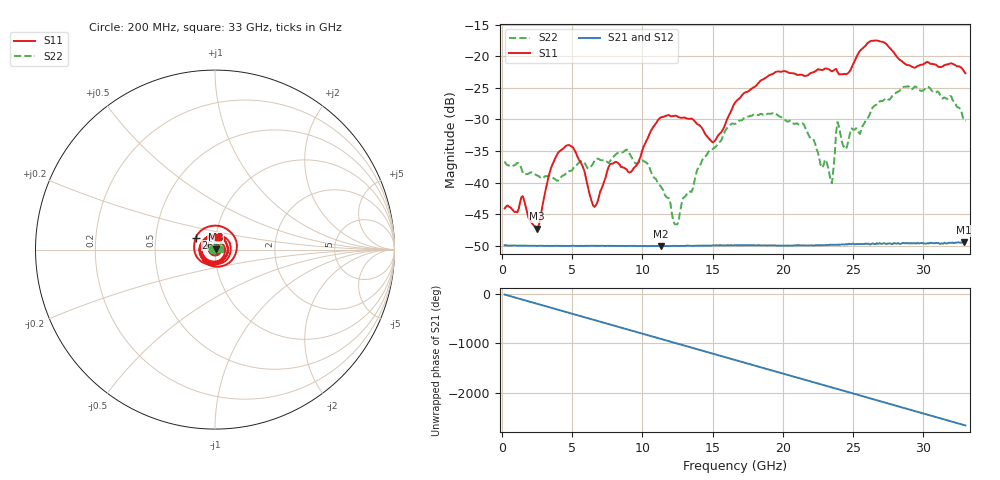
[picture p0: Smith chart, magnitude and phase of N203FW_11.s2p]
# GHZ S RI R 50
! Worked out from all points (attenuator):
!   329 points, 200 MHz to 33 GHz, reference 50 ohm
!   highest |S21| = -49.46 dB at 32.9 GHz (marker M1); lowest = -50.1 dB at 11.3 GHz (marker M2)
!   lowest |S11| = -47.3 dB at 2.5 GHz (marker M3), VSWR 1.01, Z = 50.4 + j0.228 ohm
!   |S11| at or under -10 dB: start of sweep to end of sweep
!   |S22| runs from -46.6 to -24.7 dB; largest |S21 - S12| = 8.8e-05
!   S11 on the Smith chart (normalised r, x): 200 MHz: 1.01, +0.00; 26 GHz: 0.80, +0.11; 33 GHz: 1.02, +0.15
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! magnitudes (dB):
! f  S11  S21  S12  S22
! 200 MHz  -44.1  -50.0  -49.9  -36.7
! 1.5 GHz  -42.2  -50.0  -50.0  -38.5
! 2.5 GHz  -47.3  -50.1  -50.0  -38.9
! 4 GHz  -35.3  -50.0  -50.0  -39.7
! 5.7 GHz  -37.2  -50.0  -50.0  -36.6
! 6.6 GHz  -43.9  -50.0  -50.0  -36.6
! 7.7 GHz  -37.1  -50.0  -50.0  -36.6
! 8.9 GHz  -37.9  -50.0  -50.1  -34.8
! 11.2 GHz  -29.9  -50.1  -50.1  -40.3
! 11.3 GHz  -29.7  -50.1  -50.1  -40.6
! 12.5 GHz  -29.5  -50.1  -50.1  -46.6
! 15 GHz  -33.6  -50.0  -50.0  -34.7
! 16.6 GHz  -27.4  -49.9  -49.9  -30.7
! 22.1 GHz  -22.6  -50.0  -49.9  -32.9
! 23.5 GHz  -22.4  -49.9  -49.8  -40.1
! 23.9 GHz  -22.5  -49.9  -49.9  -30.4
! 24.5 GHz  -22.8  -49.8  -49.7  -34.7
! 26 GHz  -18.0  -49.7  -49.7  -29.9
! 27.6 GHz  -18.6  -49.6  -49.7  -26.9
! 30.4 GHz  -21.0  -49.7  -49.7  -24.9
! 32.9 GHz  -22.4  -49.5  -49.4  -30.2
! 33 GHz  -22.7  -49.5  -49.5  -30.2
